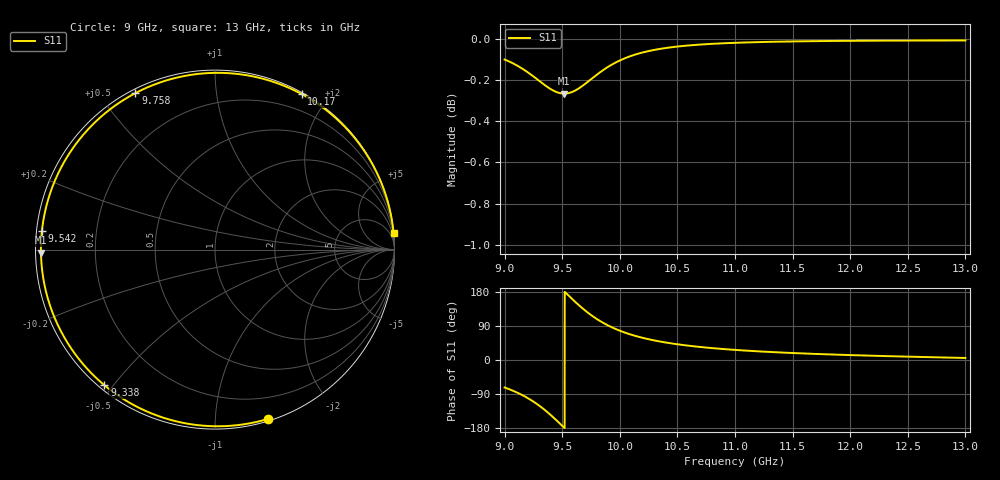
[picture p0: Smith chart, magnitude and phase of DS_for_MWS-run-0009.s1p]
! TOUCHSTONE file generated by CST DESIGN STUDIO
! Date and time: Tue Feb  4 12:39:12 2025
! Project name: C:\Work\MatlabApps\UnitCellOptimizationMatlab\CST\unitcell.cst
! Tree item: Tasks\Sweep1\SPara1\S-Parameters
! Header version: 2024
! Port assignment regex: !\s*Touchstone port\s*([0-9]+)\s*=\s*(CST MWS port|CST DES external port|CST DES block port)\s*(.+)\s* \(\"(.*)\"\)(\s*mode\s*([0-9]+))?.*
! Touchstone port assignment:
! Touchstone port 1 = CST DES external port 1 ("")
# GHz S MA R 50
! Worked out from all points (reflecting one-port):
!   4001 points, 9 GHz to 13 GHz, reference 50 ohm
!   lowest |S11| = -0.3 dB at 9.518 GHz (marker M1), VSWR 65.40, Z = 0.765 - j0.443 ohm
!   phase of S11 starts at -73 deg and turns -282 deg over the sweep
!   S11 on the Smith chart (normalised r, x): 9 GHz: 0.02, -1.36; 9.338 GHz: 0.02, -0.47; 9.542 GHz: 0.02, +0.05; 9.758 GHz: 0.02, +0.61; 10.17 GHz: 0.02, +1.70; 13 GHz: 0, +21
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9  0.9886 -72.6
9.093  0.9858 -83.8
9.198  0.9817 -100.0
9.271  0.9783 -114.1
9.338  0.975 -129.2
9.382  0.973 -140.3
9.428  0.9714 -152.8
9.5  0.9699 -173.7
9.518  0.9699 -179.0
9.542  0.97 173.9
9.596  0.971 158.2
9.656  0.9732 141.6
9.706  0.9755 128.9
9.758  0.9781 116.9
9.808  0.9806 106.7
9.863  0.9831 96.8
9.931  0.9857 86.3
10  0.988 77.3
10.08  0.9901 68.6
10.167  0.9919 60.9
10.318  0.9941 50.5
10.5  0.9958 41.5
10.721  0.997 33.6
11  0.9978 26.6
11.5  0.9986 18.4
12  0.999 12.9
12.5  0.9991 8.8
13  0.9992 5.4
